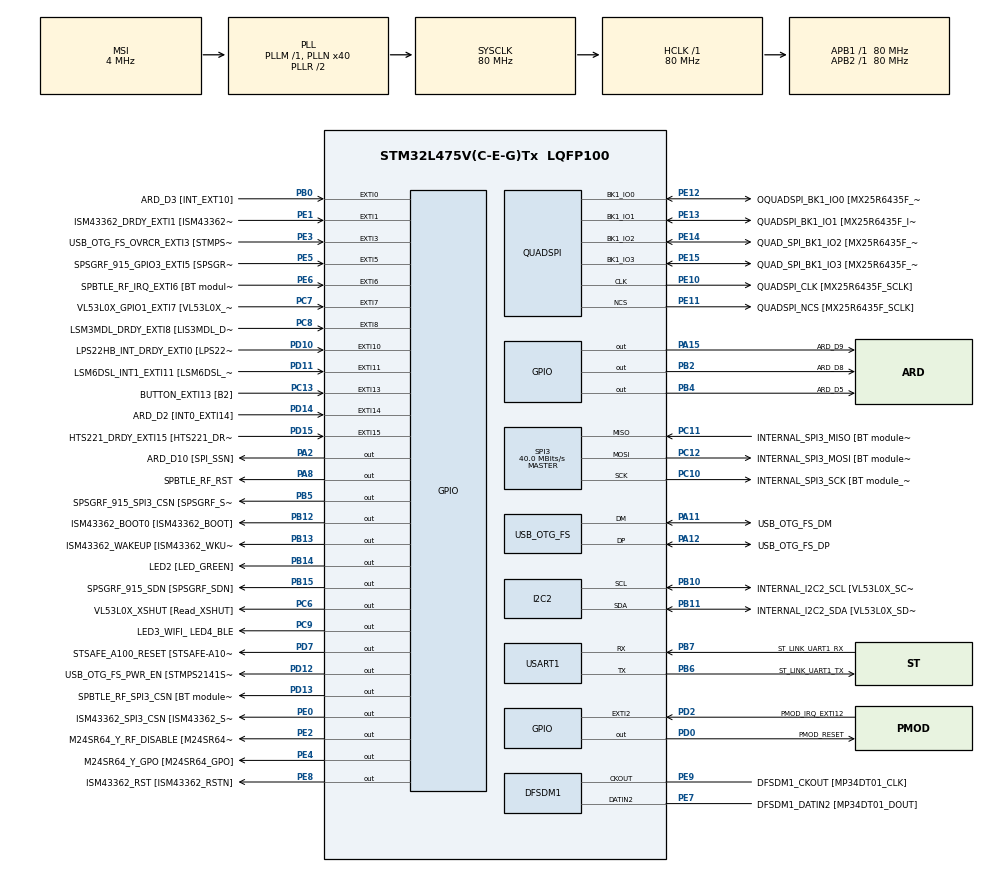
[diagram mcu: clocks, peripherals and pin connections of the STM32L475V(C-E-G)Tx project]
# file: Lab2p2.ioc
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Mcu.Family=STM32L4
Mcu.Name=STM32L475V(C-E-G)Tx
Mcu.Package=LQFP100
NVIC.EXTI15_10_IRQn=true\:0\:0\:false\:false\:true\:true\:true\:true
NVIC.EXTI9_5_IRQn=true\:0\:0\:false\:false\:true\:true\:true\:true
NVIC.PriorityGroup=NVIC_PRIORITYGROUP_4
NVIC.USART1_IRQn=true\:0\:0\:false\:false\:true\:true\:true\:true
PA0.GPIO_Label=ARD_D1 [UART4_TX]
PA0.Signal=UART4_TX
PA1.GPIO_Label=ARD_D0 [UART4_RX]
PA1.Signal=UART4_RX
PA10.GPIO_Label=USB_OTG_FS_ID
PA10.Signal=USB_OTG_FS_ID
PA11.GPIO_Label=USB_OTG_FS_DM
PA11.Mode=Device_Only
PA11.Signal=USB_OTG_FS_DM
PA12.GPIO_Label=USB_OTG_FS_DP
PA12.Mode=Device_Only
PA12.Signal=USB_OTG_FS_DP
PA13\ (JTMS-SWDIO).GPIO_Label=SYS_JTMS_SWDIO
PA13\ (JTMS-SWDIO).Mode=Serial_Wire
PA13\ (JTMS-SWDIO).Signal=SYS_JTMS-SWDIO
PA14\ (JTCK-SWCLK).GPIO_Label=SYS_JTCK_SWCLK
PA14\ (JTCK-SWCLK).Mode=Serial_Wire
PA14\ (JTCK-SWCLK).Signal=SYS_JTCK-SWCLK
PA15\ (JTDI).GPIO_Label=ARD_D9
PA15\ (JTDI).Signal=GPIO_Output
PA2.GPIO_Label=ARD_D10 [SPI_SSN]
PA2.Signal=GPIO_Output
PA3.GPIO_Label=ARD_D4
PA3.Signal=S_TIM2_CH4
PA4.GPIO_Label=ARD_D7
PA4.Signal=ADCx_IN9
PA5.GPIO_Label=ARD_D13 [SPI1_SCK]
PA5.Signal=SPI1_SCK
PA6.GPIO_Label=ARD_D12 [SPI1_MISO]
PA6.Signal=SPI1_MISO
PA7.GPIO_Label=ARD_D11 [SPI1_MOSI]
PA7.Signal=SPI1_MOSI
PA8.GPIO_Label=SPBTLE_RF_RST
PA8.Signal=GPIO_Output
PA9.GPIO_Label=USB_OTG_FS_VBUS [STMPS2141STR_OUT]
PA9.Signal=USB_OTG_FS_VBUS
PB0.GPIO_Label=ARD_D3 [INT_EXT10]
PB0.Signal=GPXTI0
PB1.GPIO_Label=ARD_D6 [ADC1_IN6]
PB1.Signal=ADCx_IN16
PB10.GPIO_Label=INTERNAL_I2C2_SCL [VL53L0X_SCL]
PB10.GPIO_Pu=GPIO_PULLUP
PB10.Mode=I2C
PB10.Signal=I2C2_SCL
PB11.GPIO_Label=INTERNAL_I2C2_SDA [VL53L0X_SDA]
PB11.GPIO_Pu=GPIO_PULLUP
PB11.Mode=I2C
PB11.Signal=I2C2_SDA
PB12.GPIO_Label=ISM43362_BOOT0 [ISM43362_BOOT]
PB12.Signal=GPIO_Output
PB13.GPIO_Label=ISM43362_WAKEUP [ISM43362_WKUP]
PB13.Signal=GPIO_Output
PB14.GPIO_Label=LED2 [LED_GREEN]
PB14.Signal=GPIO_Output
PB15.GPIO_Label=SPSGRF_915_SDN [SPSGRF_SDN]
PB15.Signal=GPIO_Output
PB2.GPIO_Label=ARD_D8
PB2.Signal=GPIO_Output
PB3\ (JTDO-TRACESWO).GPIO_Label=SYS_JTD0_SWO
PB3\ (JTDO-TRACESWO).Signal=SYS_JTDO-SWO
PB4\ (NJTRST).GPIO_Label=ARD_D5
PB4\ (NJTRST).Signal=GPIO_Output
PB5.GPIO_Label=SPSGRF_915_SPI3_CSN [SPSGRF_SPI_CS]
PB5.PinState=GPIO_PIN_SET
PB5.Signal=GPIO_Output
PB6.GPIO_Label=ST_LINK_UART1_TX
PB6.Mode=Asynchronous
PB6.Signal=USART1_TX
PB7.GPIO_Label=ST_LINK_UART1_RX
PB7.Mode=Asynchronous
PB7.Signal=USART1_RX
PB8.GPIO_Label=ARD_D15 [I2C1_SCL]
PB8.Signal=I2C1_SCL
PB9.GPIO_Label=ARD_D14 [I2C1_SDA]
PB9.Signal=I2C1_SDA
PC0.GPIO_Label=ARD_A5 [ADC]
PC0.Signal=ADCx_IN1
PC1.GPIO_Label=ARD_A4 [ADC]
PC1.Signal=ADCx_IN2
PC10.GPIO_Label=INTERNAL_SPI3_SCK [BT module_SPI_SCLK] [ISM43362_SCK]
PC10.Mode=Full_Duplex_Master
PC10.Signal=SPI3_SCK
PC11.GPIO_Label=INTERNAL_SPI3_MISO [BT module_SPI_MISO] [ISM43362_MISO]
PC11.Mode=Full_Duplex_Master
PC11.Signal=SPI3_MISO
PC12.GPIO_Label=INTERNAL_SPI3_MOSI [BT module_SPI_MOSI] [ISM43362_MOSI]
PC12.Mode=Full_Duplex_Master
PC12.Signal=SPI3_MOSI
PC13.GPIO_Label=BUTTON_EXTI13 [B2]
PC13.GPIO_ModeDefaultEXTI=GPIO_MODE_IT_FALLING
PC13.Signal=GPXTI13
PC14-OSC32_IN\ (PC14).Mode=LSE-External-Oscillator
PC14-OSC32_IN\ (PC14).Signal=RCC_OSC32_IN
PC15-OSC32_OUT\ (PC15).Mode=LSE-External-Oscillator
PC15-OSC32_OUT\ (PC15).Signal=RCC_OSC32_OUT
PC2.GPIO_Label=ARD_A3 [ADC]
PC2.Signal=ADCx_IN3
PC3.GPIO_Label=ARD_A2 [ADC]
PC3.Signal=ADCx_IN4
PC4.GPIO_Label=ARD_A1 [ADC]
PC4.Signal=ADCx_IN13
PC5.GPIO_Label=ARD_A0 [ADC]
PC5.Signal=ADCx_IN14
PC6.GPIO_Label=VL53L0X_XSHUT [Read_XSHUT]
PC6.Signal=GPIO_Output
PC7.GPIO_Label=VL53L0X_GPIO1_EXTI7 [VL53L0X_GPIO1]
PC7.Signal=GPXTI7
PC8.GPIO_Label=LSM3MDL_DRDY_EXTI8 [LIS3MDL_DRDY]
PC8.Signal=GPXTI8
PC9.GPIO_Label=LED3_WIFI_ LED4_BLE
PC9.Signal=GPIO_Output
PD0.GPIO_Label=PMOD_RESET
PD0.Signal=GPIO_Output
PD1.GPIO_Label=PMOD_SPI2_SCK
PD1.Signal=SPI2_SCK
PD10.GPIO_Label=LPS22HB_INT_DRDY_EXTI0 [LPS22HB_INT_DRDY] 
PD10.Signal=GPXTI10
PD11.GPIO_Label=LSM6DSL_INT1_EXTI11 [LSM6DSL_INT1]
PD11.Signal=GPXTI11
PD12.GPIO_Label=USB_OTG_FS_PWR_EN [STMPS2141STR_EN]
PD12.Signal=GPIO_Output
PD13.GPIO_Label=SPBTLE_RF_SPI3_CSN [BT module_SPI_CS]
PD13.PinState=GPIO_PIN_SET
PD13.Signal=GPIO_Output
PD14.GPIO_Label=ARD_D2 [INT0_EXTI14]
PD14.Signal=GPXTI14
PD15.GPIO_Label=HTS221_DRDY_EXTI15 [HTS221_DRDY]
PD15.Signal=GPXTI15
PD2.GPIO_Label=PMOD_IRQ_EXTI12
PD2.Signal=GPXTI2
PD3.GPIO_Label=PMOD_UART2_CTS
PD3.Signal=USART2_CTS
PD4.GPIO_Label=PMOD_UART2_RTS
PD4.Signal=USART2_RTS
PD5.GPIO_Label=PMOD_UART2_TX
PD5.Signal=USART2_TX
PD6.GPIO_Label=PMOD_UART2_RX
PD6.Signal=USART2_RX
PD7.GPIO_Label=STSAFE_A100_RESET [STSAFE-A100_RESET]
PD7.Signal=GPIO_Output
PD8.GPIO_Label=INTERNAL_UART3_TX [ISM43362_RX]
PD8.Signal=USART3_TX
PD9.GPIO_Label=INTERNAL_UART3_RX [ISM43362_TX]
PD9.Signal=USART3_RX
PE0.GPIO_Label=ISM43362_SPI3_CSN [ISM43362_SSN]
PE0.PinState=GPIO_PIN_SET
PE0.Signal=GPIO_Output
PE1.GPIO_Label=ISM43362_DRDY_EXTI1 [ISM43362_DATARDY]
PE1.Signal=GPXTI1
PE10.GPIO_Label=QUADSPI_CLK [MX25R6435F_SCLK]
PE10.Mode=Single Bank
PE10.Signal=QUADSPI_CLK
PE11.GPIO_Label=QUADSPI_NCS [MX25R6435F_SCLK]
PE11.Mode=Single Bank
PE11.Signal=QUADSPI_NCS
PE12.GPIO_Label=OQUADSPI_BK1_IO0 [MX25R6435F_IO0]
PE12.Mode=Single Bank
PE12.Signal=QUADSPI_BK1_IO0
PE13.GPIO_Label=QUADSPI_BK1_IO1 [MX25R6435F_IO1]
PE13.Mode=Single Bank
PE13.Signal=QUADSPI_BK1_IO1
PE14.GPIO_Label=QUAD_SPI_BK1_IO2 [MX25R6435F_IO2]
PE14.Mode=Single Bank
PE14.Signal=QUADSPI_BK1_IO2
PE15.GPIO_Label=QUAD_SPI_BK1_IO3 [MX25R6435F_IO3]
PE15.Mode=Single Bank
PE15.Signal=QUADSPI_BK1_IO3
PE2.GPIO_Label=M24SR64_Y_RF_DISABLE [M24SR64_RFDIS]
PE2.Signal=GPIO_Output
PE3.GPIO_Label=USB_OTG_FS_OVRCR_EXTI3 [STMPS2141STR_FAULT]
PE3.Signal=GPXTI3
PE4.GPIO_Label=M24SR64_Y_GPO [M24SR64_GPO]
PE4.Signal=GPIO_Output
PE5.GPIO_Label=SPSGRF_915_GPIO3_EXTI5 [SPSGRF_GPIO_3]
PE5.Signal=GPXTI5
PE6.GPIO_Label=SPBTLE_RF_IRQ_EXTI6 [BT module_SPI_IRQ]
PE6.Signal=GPXTI6
PE7.GPIO_Label=DFSDM1_DATIN2 [MP34DT01_DOUT]
PE7.Signal=S_DATAIN2DFSDM1
PE8.GPIO_Label=ISM43362_RST [ISM43362_RSTN]
PE8.Signal=GPIO_Output
PE9.GPIO_Label=DFSDM1_CKOUT [MP34DT01_CLK]
PE9.Signal=S_CKOUTDFSDM1
ProjectManager.HeapSize=0x200
ProjectManager.StackSize=0x400
ProjectManager.TargetToolchain=STM32CubeIDE
QUADSPI.ClockPrescaler=2
QUADSPI.FifoThreshold=4
QUADSPI.FlashSize=23
QUADSPI.SampleShifting=QSPI_SAMPLE_SHIFTING_HALFCYCLE
RCC.ADCFreq_Value=48000000
RCC.AHBFreq_Value=80000000
RCC.APB1Freq_Value=80000000
RCC.APB1TimFreq_Value=80000000
RCC.APB2Freq_Value=80000000
RCC.APB2TimFreq_Value=80000000
RCC.CortexFreq_Value=80000000
RCC.HCLKFreq_Value=80000000
RCC.HSE_VALUE=8000000
RCC.HSI_VALUE=16000000
RCC.MSI_VALUE=4000000
RCC.PLLN=40
RCC.PLLSAI1N=24
RCC.SYSCLKFreq_VALUE=80000000
RCC.SYSCLKSource=RCC_SYSCLKSOURCE_PLLCLK
RCC.USBFreq_Value=48000000
RCC.VCOOutputFreq_Value=160000000
SH.ADCx_IN1.0=ADC1_IN1
SH.ADCx_IN13.0=ADC1_IN13
SH.ADCx_IN14.0=ADC1_IN14
SH.ADCx_IN16.0=ADC1_IN16
SH.ADCx_IN2.0=ADC1_IN2
SH.ADCx_IN3.0=ADC1_IN3
SH.ADCx_IN4.0=ADC1_IN4
SH.ADCx_IN9.0=ADC1_IN9
SH.S_CKOUTDFSDM1.0=DFSDM1_CKOUT,CKOUT
SH.S_CKOUTDFSDM1.1=DFSDM1_CKOUT,PDM_SPI_Input_from_ch12_and_Internal_Clock
SH.S_DATAIN2DFSDM1.0=DFSDM1_DATIN2,PDM_SPI_Input_from_ch12_and_Internal_Clock
SH.S_TIM2_CH4.0=TIM2_CH4
SPI3.CalculateBaudRate=40.0 MBits/s
SPI3.Direction=SPI_DIRECTION_2LINES
SPI3.Mode=SPI_MODE_MASTER
SPI3.VirtualType=VM_MASTER
USART1.VirtualMode-Asynchronous=VM_ASYNC
USB_OTG_FS.VirtualMode=Device_Only
board=B-L475E-IOT01A1

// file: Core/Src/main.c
/* USER CODE BEGIN Header */
/**
  ******************************************************************************
  * @file           : main.c
  * @brief          : Main program body
  ******************************************************************************
  * @attention
  *
  * Copyright (c) 2024 STMicroelectronics.
  * All rights reserved.
  *
  * This software is licensed under terms that can be found in the LICENSE file
  * in the root directory of this software component.
  * If no LICENSE file comes with this software, it is provided AS-IS.
  *
  ******************************************************************************
  */
/* USER CODE END Header */
#include "main.h"

/* USER CODE BEGIN Includes */
#include <stdio.h>

/* USER CODE END Includes */

DFSDM_Channel_HandleTypeDef hdfsdm1_channel1;

I2C_HandleTypeDef hi2c2;

QSPI_HandleTypeDef hqspi;

SPI_HandleTypeDef hspi3;

UART_HandleTypeDef huart1;

PCD_HandleTypeDef hpcd_USB_OTG_FS;

/* USER CODE BEGIN PV */
//hts221
#if 0
float humidity = 0;
float temp = 0;

float barometer = 0;

int16_t accel[3] = {0};
float gyro[3] = {0};

int16_t magnetometer[3] = {0};
#else
HAL_StatusTypeDef status;
uint8_t data[20000];

#endif
/* USER CODE END PV */

void SystemClock_Config(void);
static void MX_GPIO_Init(void);
static void MX_DFSDM1_Init(void);
static void MX_I2C2_Init(void);
static void MX_QUADSPI_Init(void);
static void MX_SPI3_Init(void);
static void MX_USART1_UART_Init(void);
static void MX_USB_OTG_FS_PCD_Init(void);

int main(void)
{

  /* MCU Configuration--------------------------------------------------------*/

  /* Reset of all peripherals, Initializes the Flash interface and the Systick. */
  HAL_Init();

  /* Configure the system clock */
  SystemClock_Config();

  /* Initialize all configured peripherals */
  MX_GPIO_Init();
  MX_DFSDM1_Init();
  MX_I2C2_Init();
  MX_QUADSPI_Init();
  MX_SPI3_Init();
  MX_USART1_UART_Init();
  MX_USB_OTG_FS_PCD_Init();
  /* USER CODE BEGIN 2 */
#if 0
  BSP_HSENSOR_Init();
  BSP_TSENSOR_Init();
  BSP_PSENSOR_Init();
  BSP_ACCELERO_Init();
  BSP_GYRO_Init();
  BSP_MAGNETO_Init();
#else
  for(int count = 0, letter = 33; count < sizeof(data); count++, letter++) {
	  if (letter > 125) {
		  letter = 33;
	  }
	  data[count] = letter;
  }

  status = HAL_UART_Transmit_IT(&huart1, data, sizeof(data));
  if (status != HAL_OK) {
	  Error_Handler();
  }
#endif

  /* USER CODE END 2 */

  /* Infinite loop */
  while (1)
  {

    /* USER CODE BEGIN 3 */
#if 0
	  humidity = BSP_HSENSOR_ReadHumidity();
	  temp = BSP_TSENSOR_ReadTemp();

	  barometer = BSP_PSENSOR_ReadPressure();

	  LSM6DSL_AccReadXYZ(accel);
	  LSM6DSL_GyroReadXYZAngRate(gyro);

	  BSP_MAGNETO_GetXYZ(magnetometer);

	  char message[200];

	  sprintf(message, "Humidity: %.2f | Temp: %.2f\r\nPressure: %.2f\r\nMagnet: %d %d %d\r\nAccel: %d %d %d\r\nGyro: %.2f %.2f %.2f\r\n\n\0", humidity, temp, barometer, magnetometer[0], magnetometer[1], magnetometer[2], accel[0], accel[1], accel[2], gyro[0], gyro[1], gyro[2]);

	  HAL_UART_Transmit(&huart1, (uint8_t*)message, strlen(message), HAL_MAX_DELAY);
	  HAL_Delay(1000);
#else
	  HAL_GPIO_TogglePin(GPIOB, GPIO_PIN_14);
	  HAL_Delay(250);
#endif

  }
  /* USER CODE END 3 */
}

void SystemClock_Config(void)
{
  RCC_OscInitTypeDef RCC_OscInitStruct = {0};
  RCC_ClkInitTypeDef RCC_ClkInitStruct = {0};

  /** Configure the main internal regulator output voltage
  */
  if (HAL_PWREx_ControlVoltageScaling(PWR_REGULATOR_VOLTAGE_SCALE1) != HAL_OK)
  {
    Error_Handler();
  }

  /** Configure LSE Drive Capability
  */
  HAL_PWR_EnableBkUpAccess();
  __HAL_RCC_LSEDRIVE_CONFIG(RCC_LSEDRIVE_LOW);

  /** Initializes the RCC Oscillators according to the specified parameters
  * in the RCC_OscInitTypeDef structure.
  */
  RCC_OscInitStruct.OscillatorType = RCC_OSCILLATORTYPE_LSE|RCC_OSCILLATORTYPE_MSI;
  RCC_OscInitStruct.LSEState = RCC_LSE_ON;
  RCC_OscInitStruct.MSIState = RCC_MSI_ON;
  RCC_OscInitStruct.MSICalibrationValue = 0;
  RCC_OscInitStruct.MSIClockRange = RCC_MSIRANGE_6;
  RCC_OscInitStruct.PLL.PLLState = RCC_PLL_ON;
  RCC_OscInitStruct.PLL.PLLSource = RCC_PLLSOURCE_MSI;
  RCC_OscInitStruct.PLL.PLLM = 1;
  RCC_OscInitStruct.PLL.PLLN = 40;
  RCC_OscInitStruct.PLL.PLLP = RCC_PLLP_DIV7;
  RCC_OscInitStruct.PLL.PLLQ = RCC_PLLQ_DIV2;
  RCC_OscInitStruct.PLL.PLLR = RCC_PLLR_DIV2;
  if (HAL_RCC_OscConfig(&RCC_OscInitStruct) != HAL_OK)
  {
    Error_Handler();
  }

  /** Initializes the CPU, AHB and APB buses clocks
  */
  RCC_ClkInitStruct.ClockType = RCC_CLOCKTYPE_HCLK|RCC_CLOCKTYPE_SYSCLK
                              |RCC_CLOCKTYPE_PCLK1|RCC_CLOCKTYPE_PCLK2;
  RCC_ClkInitStruct.SYSCLKSource = RCC_SYSCLKSOURCE_PLLCLK;
  RCC_ClkInitStruct.AHBCLKDivider = RCC_SYSCLK_DIV1;
  RCC_ClkInitStruct.APB1CLKDivider = RCC_HCLK_DIV1;
  RCC_ClkInitStruct.APB2CLKDivider = RCC_HCLK_DIV1;

  if (HAL_RCC_ClockConfig(&RCC_ClkInitStruct, FLASH_LATENCY_4) != HAL_OK)
  {
    Error_Handler();
  }

  /** Enable MSI Auto calibration
  */
  HAL_RCCEx_EnableMSIPLLMode();
}

static void MX_DFSDM1_Init(void)
{

  hdfsdm1_channel1.Instance = DFSDM1_Channel1;
  hdfsdm1_channel1.Init.OutputClock.Activation = ENABLE;
  hdfsdm1_channel1.Init.OutputClock.Selection = DFSDM_CHANNEL_OUTPUT_CLOCK_SYSTEM;
  hdfsdm1_channel1.Init.OutputClock.Divider = 2;
  hdfsdm1_channel1.Init.Input.Multiplexer = DFSDM_CHANNEL_EXTERNAL_INPUTS;
  hdfsdm1_channel1.Init.Input.DataPacking = DFSDM_CHANNEL_STANDARD_MODE;
  hdfsdm1_channel1.Init.Input.Pins = DFSDM_CHANNEL_FOLLOWING_CHANNEL_PINS;
  hdfsdm1_channel1.Init.SerialInterface.Type = DFSDM_CHANNEL_SPI_RISING;
  hdfsdm1_channel1.Init.SerialInterface.SpiClock = DFSDM_CHANNEL_SPI_CLOCK_INTERNAL;
  hdfsdm1_channel1.Init.Awd.FilterOrder = DFSDM_CHANNEL_FASTSINC_ORDER;
  hdfsdm1_channel1.Init.Awd.Oversampling = 1;
  hdfsdm1_channel1.Init.Offset = 0;
  hdfsdm1_channel1.Init.RightBitShift = 0x00;
  if (HAL_DFSDM_ChannelInit(&hdfsdm1_channel1) != HAL_OK)
  {
    Error_Handler();
  }

}

static void MX_I2C2_Init(void)
{

  hi2c2.Instance = I2C2;
  hi2c2.Init.Timing = 0x10909CEC;
  hi2c2.Init.OwnAddress1 = 0;
  hi2c2.Init.AddressingMode = I2C_ADDRESSINGMODE_7BIT;
  hi2c2.Init.DualAddressMode = I2C_DUALADDRESS_DISABLE;
  hi2c2.Init.OwnAddress2 = 0;
  hi2c2.Init.OwnAddress2Masks = I2C_OA2_NOMASK;
  hi2c2.Init.GeneralCallMode = I2C_GENERALCALL_DISABLE;
  hi2c2.Init.NoStretchMode = I2C_NOSTRETCH_DISABLE;
  if (HAL_I2C_Init(&hi2c2) != HAL_OK)
  {
    Error_Handler();
  }

  /** Configure Analogue filter
  */
  if (HAL_I2CEx_ConfigAnalogFilter(&hi2c2, I2C_ANALOGFILTER_ENABLE) != HAL_OK)
  {
    Error_Handler();
  }

  /** Configure Digital filter
  */
  if (HAL_I2CEx_ConfigDigitalFilter(&hi2c2, 0) != HAL_OK)
  {
    Error_Handler();
  }

}

static void MX_QUADSPI_Init(void)
{

  /* QUADSPI parameter configuration*/
  hqspi.Instance = QUADSPI;
  hqspi.Init.ClockPrescaler = 2;
  hqspi.Init.FifoThreshold = 4;
  hqspi.Init.SampleShifting = QSPI_SAMPLE_SHIFTING_HALFCYCLE;
  hqspi.Init.FlashSize = 23;
  hqspi.Init.ChipSelectHighTime = QSPI_CS_HIGH_TIME_1_CYCLE;
  hqspi.Init.ClockMode = QSPI_CLOCK_MODE_0;
  if (HAL_QSPI_Init(&hqspi) != HAL_OK)
  {
    Error_Handler();
  }

}

static void MX_SPI3_Init(void)
{

  /* SPI3 parameter configuration*/
  hspi3.Instance = SPI3;
  hspi3.Init.Mode = SPI_MODE_MASTER;
  hspi3.Init.Direction = SPI_DIRECTION_2LINES;
  hspi3.Init.DataSize = SPI_DATASIZE_4BIT;
  hspi3.Init.CLKPolarity = SPI_POLARITY_LOW;
  hspi3.Init.CLKPhase = SPI_PHASE_1EDGE;
  hspi3.Init.NSS = SPI_NSS_SOFT;
  hspi3.Init.BaudRatePrescaler = SPI_BAUDRATEPRESCALER_2;
  hspi3.Init.FirstBit = SPI_FIRSTBIT_MSB;
  hspi3.Init.TIMode = SPI_TIMODE_DISABLE;
  hspi3.Init.CRCCalculation = SPI_CRCCALCULATION_DISABLE;
  hspi3.Init.CRCPolynomial = 7;
  hspi3.Init.CRCLength = SPI_CRC_LENGTH_DATASIZE;
  hspi3.Init.NSSPMode = SPI_NSS_PULSE_ENABLE;
  if (HAL_SPI_Init(&hspi3) != HAL_OK)
  {
    Error_Handler();
  }

}

static void MX_USART1_UART_Init(void)
{

  huart1.Instance = USART1;
  huart1.Init.BaudRate = 115200;
  huart1.Init.WordLength = UART_WORDLENGTH_8B;
  huart1.Init.StopBits = UART_STOPBITS_1;
  huart1.Init.Parity = UART_PARITY_NONE;
  huart1.Init.Mode = UART_MODE_TX_RX;
  huart1.Init.HwFlowCtl = UART_HWCONTROL_NONE;
  huart1.Init.OverSampling = UART_OVERSAMPLING_16;
  huart1.Init.OneBitSampling = UART_ONE_BIT_SAMPLE_DISABLE;
  huart1.AdvancedInit.AdvFeatureInit = UART_ADVFEATURE_NO_INIT;
  if (HAL_UART_Init(&huart1) != HAL_OK)
  {
    Error_Handler();
  }

}

static void MX_USB_OTG_FS_PCD_Init(void)
{

  hpcd_USB_OTG_FS.Instance = USB_OTG_FS;
  hpcd_USB_OTG_FS.Init.dev_endpoints = 6;
  hpcd_USB_OTG_FS.Init.speed = PCD_SPEED_FULL;
  hpcd_USB_OTG_FS.Init.phy_itface = PCD_PHY_EMBEDDED;
  hpcd_USB_OTG_FS.Init.Sof_enable = DISABLE;
  hpcd_USB_OTG_FS.Init.low_power_enable = DISABLE;
  hpcd_USB_OTG_FS.Init.lpm_enable = DISABLE;
  hpcd_USB_OTG_FS.Init.battery_charging_enable = DISABLE;
  hpcd_USB_OTG_FS.Init.use_dedicated_ep1 = DISABLE;
  hpcd_USB_OTG_FS.Init.vbus_sensing_enable = DISABLE;
  if (HAL_PCD_Init(&hpcd_USB_OTG_FS) != HAL_OK)
  {
    Error_Handler();
  }

}

static void MX_GPIO_Init(void)
{
  GPIO_InitTypeDef GPIO_InitStruct = {0};

  /* GPIO Ports Clock Enable */
  __HAL_RCC_GPIOE_CLK_ENABLE();
  __HAL_RCC_GPIOC_CLK_ENABLE();
  __HAL_RCC_GPIOA_CLK_ENABLE();
  __HAL_RCC_GPIOB_CLK_ENABLE();
  __HAL_RCC_GPIOD_CLK_ENABLE();

  /*Configure GPIO pin Output Level */
  HAL_GPIO_WritePin(GPIOE, M24SR64_Y_RF_DISABLE_Pin|M24SR64_Y_GPO_Pin|ISM43362_RST_Pin, GPIO_PIN_RESET);

  /*Configure GPIO pin Output Level */
  HAL_GPIO_WritePin(GPIOA, ARD_D10_Pin|SPBTLE_RF_RST_Pin|ARD_D9_Pin, GPIO_PIN_RESET);

  /*Configure GPIO pin Output Level */
  HAL_GPIO_WritePin(GPIOB, ARD_D8_Pin|ISM43362_BOOT0_Pin|ISM43362_WAKEUP_Pin|LED2_Pin
                          |SPSGRF_915_SDN_Pin|ARD_D5_Pin, GPIO_PIN_RESET);

  /*Configure GPIO pin Output Level */
  HAL_GPIO_WritePin(GPIOD, USB_OTG_FS_PWR_EN_Pin|PMOD_RESET_Pin|STSAFE_A100_RESET_Pin, GPIO_PIN_RESET);

  /*Configure GPIO pin Output Level */
  HAL_GPIO_WritePin(SPBTLE_RF_SPI3_CSN_GPIO_Port, SPBTLE_RF_SPI3_CSN_Pin, GPIO_PIN_SET);

  /*Configure GPIO pin Output Level */
  HAL_GPIO_WritePin(GPIOC, VL53L0X_XSHUT_Pin|LED3_WIFI__LED4_BLE_Pin, GPIO_PIN_RESET);

  /*Configure GPIO pin Output Level */
  HAL_GPIO_WritePin(SPSGRF_915_SPI3_CSN_GPIO_Port, SPSGRF_915_SPI3_CSN_Pin, GPIO_PIN_SET);

  /*Configure GPIO pin Output Level */
  HAL_GPIO_WritePin(ISM43362_SPI3_CSN_GPIO_Port, ISM43362_SPI3_CSN_Pin, GPIO_PIN_SET);

  /*Configure GPIO pins : M24SR64_Y_RF_DISABLE_Pin M24SR64_Y_GPO_Pin ISM43362_RST_Pin ISM43362_SPI3_CSN_Pin */
  GPIO_InitStruct.Pin = M24SR64_Y_RF_DISABLE_Pin|M24SR64_Y_GPO_Pin|ISM43362_RST_Pin|ISM43362_SPI3_CSN_Pin;
  GPIO_InitStruct.Mode = GPIO_MODE_OUTPUT_PP;
  GPIO_InitStruct.Pull = GPIO_NOPULL;
  GPIO_InitStruct.Speed = GPIO_SPEED_FREQ_LOW;
  HAL_GPIO_Init(GPIOE, &GPIO_InitStruct);

  /*Configure GPIO pins : USB_OTG_FS_OVRCR_EXTI3_Pin SPSGRF_915_GPIO3_EXTI5_Pin SPBTLE_RF_IRQ_EXTI6_Pin ISM43362_DRDY_EXTI1_Pin */
  GPIO_InitStruct.Pin = USB_OTG_FS_OVRCR_EXTI3_Pin|SPSGRF_915_GPIO3_EXTI5_Pin|SPBTLE_RF_IRQ_EXTI6_Pin|ISM43362_DRDY_EXTI1_Pin;
  GPIO_InitStruct.Mode = GPIO_MODE_IT_RISING;
  GPIO_InitStruct.Pull = GPIO_NOPULL;
  HAL_GPIO_Init(GPIOE, &GPIO_InitStruct);

  /*Configure GPIO pin : BUTTON_EXTI13_Pin */
  GPIO_InitStruct.Pin = BUTTON_EXTI13_Pin;
  GPIO_InitStruct.Mode = GPIO_MODE_IT_FALLING;
  GPIO_InitStruct.Pull = GPIO_NOPULL;
  HAL_GPIO_Init(BUTTON_EXTI13_GPIO_Port, &GPIO_InitStruct);

  /*Configure GPIO pins : ARD_A5_Pin ARD_A4_Pin ARD_A3_Pin ARD_A2_Pin
                           ARD_A1_Pin ARD_A0_Pin */
  GPIO_InitStruct.Pin = ARD_A5_Pin|ARD_A4_Pin|ARD_A3_Pin|ARD_A2_Pin
                          |ARD_A1_Pin|ARD_A0_Pin;
  GPIO_InitStruct.Mode = GPIO_MODE_ANALOG_ADC_CONTROL;
  GPIO_InitStruct.Pull = GPIO_NOPULL;
  HAL_GPIO_Init(GPIOC, &GPIO_InitStruct);

  /*Configure GPIO pins : ARD_D1_Pin ARD_D0_Pin */
  GPIO_InitStruct.Pin = ARD_D1_Pin|ARD_D0_Pin;
  GPIO_InitStruct.Mode = GPIO_MODE_AF_PP;
  GPIO_InitStruct.Pull = GPIO_NOPULL;
  GPIO_InitStruct.Speed = GPIO_SPEED_FREQ_VERY_HIGH;
  GPIO_InitStruct.Alternate = GPIO_AF8_UART4;
  HAL_GPIO_Init(GPIOA, &GPIO_InitStruct);

  /*Configure GPIO pins : ARD_D10_Pin SPBTLE_RF_RST_Pin ARD_D9_Pin */
  GPIO_InitStruct.Pin = ARD_D10_Pin|SPBTLE_RF_RST_Pin|ARD_D9_Pin;
  GPIO_InitStruct.Mode = GPIO_MODE_OUTPUT_PP;
  GPIO_InitStruct.Pull = GPIO_NOPULL;
  GPIO_InitStruct.Speed = GPIO_SPEED_FREQ_LOW;
  HAL_GPIO_Init(GPIOA, &GPIO_InitStruct);

  /*Configure GPIO pin : ARD_D4_Pin */
  GPIO_InitStruct.Pin = ARD_D4_Pin;
  GPIO_InitStruct.Mode = GPIO_MODE_AF_PP;
  GPIO_InitStruct.Pull = GPIO_NOPULL;
  GPIO_InitStruct.Speed = GPIO_SPEED_FREQ_LOW;
  GPIO_InitStruct.Alternate = GPIO_AF1_TIM2;
  HAL_GPIO_Init(ARD_D4_GPIO_Port, &GPIO_InitStruct);

  /*Configure GPIO pin : ARD_D7_Pin */
  GPIO_InitStruct.Pin = ARD_D7_Pin;
  GPIO_InitStruct.Mode = GPIO_MODE_ANALOG_ADC_CONTROL;
  GPIO_InitStruct.Pull = GPIO_NOPULL;
  HAL_GPIO_Init(ARD_D7_GPIO_Port, &GPIO_InitStruct);

  /*Configure GPIO pins : ARD_D13_Pin ARD_D12_Pin ARD_D11_Pin */
  GPIO_InitStruct.Pin = ARD_D13_Pin|ARD_D12_Pin|ARD_D11_Pin;
  GPIO_InitStruct.Mode = GPIO_MODE_AF_PP;
  GPIO_InitStruct.Pull = GPIO_NOPULL;
  GPIO_InitStruct.Speed = GPIO_SPEED_FREQ_VERY_HIGH;
  GPIO_InitStruct.Alternate = GPIO_AF5_SPI1;
  HAL_GPIO_Init(GPIOA, &GPIO_InitStruct);

  /*Configure GPIO pin : ARD_D3_Pin */
  GPIO_InitStruct.Pin = ARD_D3_Pin;
  GPIO_InitStruct.Mode = GPIO_MODE_IT_RISING;
  GPIO_InitStruct.Pull = GPIO_NOPULL;
  HAL_GPIO_Init(ARD_D3_GPIO_Port, &GPIO_InitStruct);

  /*Configure GPIO pin : ARD_D6_Pin */
  GPIO_InitStruct.Pin = ARD_D6_Pin;
  GPIO_InitStruct.Mode = GPIO_MODE_ANALOG_ADC_CONTROL;
  GPIO_InitStruct.Pull = GPIO_NOPULL;
  HAL_GPIO_Init(ARD_D6_GPIO_Port, &GPIO_InitStruct);

  /*Configure GPIO pins : ARD_D8_Pin ISM43362_BOOT0_Pin ISM43362_WAKEUP_Pin LED2_Pin
                           SPSGRF_915_SDN_Pin ARD_D5_Pin SPSGRF_915_SPI3_CSN_Pin */
  GPIO_InitStruct.Pin = ARD_D8_Pin|ISM43362_BOOT0_Pin|ISM43362_WAKEUP_Pin|LED2_Pin
                          |SPSGRF_915_SDN_Pin|ARD_D5_Pin|SPSGRF_915_SPI3_CSN_Pin;
  GPIO_InitStruct.Mode = GPIO_MODE_OUTPUT_PP;
  GPIO_InitStruct.Pull = GPIO_NOPULL;
  GPIO_InitStruct.Speed = GPIO_SPEED_FREQ_LOW;
  HAL_GPIO_Init(GPIOB, &GPIO_InitStruct);

  /*Configure GPIO pins : INTERNAL_UART3_TX_Pin INTERNAL_UART3_RX_Pin */
  GPIO_InitStruct.Pin = INTERNAL_UART3_TX_Pin|INTERNAL_UART3_RX_Pin;
  GPIO_InitStruct.Mode = GPIO_MODE_AF_PP;
  GPIO_InitStruct.Pull = GPIO_NOPULL;
  GPIO_InitStruct.Speed = GPIO_SPEED_FREQ_VERY_HIGH;
  GPIO_InitStruct.Alternate = GPIO_AF7_USART3;
  HAL_GPIO_Init(GPIOD, &GPIO_InitStruct);

  /*Configure GPIO pins : LPS22HB_INT_DRDY_EXTI0_Pin LSM6DSL_INT1_EXTI11_Pin ARD_D2_Pin HTS221_DRDY_EXTI15_Pin
                           PMOD_IRQ_EXTI12_Pin */
  GPIO_InitStruct.Pin = LPS22HB_INT_DRDY_EXTI0_Pin|LSM6DSL_INT1_EXTI11_Pin|ARD_D2_Pin|HTS221_DRDY_EXTI15_Pin
                          |PMOD_IRQ_EXTI12_Pin;
  GPIO_InitStruct.Mode = GPIO_MODE_IT_RISING;
  GPIO_InitStruct.Pull = GPIO_NOPULL;
  HAL_GPIO_Init(GPIOD, &GPIO_InitStruct);

  /*Configure GPIO pins : USB_OTG_FS_PWR_EN_Pin SPBTLE_RF_SPI3_CSN_Pin PMOD_RESET_Pin STSAFE_A100_RESET_Pin */
  GPIO_InitStruct.Pin = USB_OTG_FS_PWR_EN_Pin|SPBTLE_RF_SPI3_CSN_Pin|PMOD_RESET_Pin|STSAFE_A100_RESET_Pin;
  GPIO_InitStruct.Mode = GPIO_MODE_OUTPUT_PP;
  GPIO_InitStruct.Pull = GPIO_NOPULL;
  GPIO_InitStruct.Speed = GPIO_SPEED_FREQ_LOW;
  HAL_GPIO_Init(GPIOD, &GPIO_InitStruct);

  /*Configure GPIO pins : VL53L0X_XSHUT_Pin LED3_WIFI__LED4_BLE_Pin */
  GPIO_InitStruct.Pin = VL53L0X_XSHUT_Pin|LED3_WIFI__LED4_BLE_Pin;
  GPIO_InitStruct.Mode = GPIO_MODE_OUTPUT_PP;
  GPIO_InitStruct.Pull = GPIO_NOPULL;
  GPIO_InitStruct.Speed = GPIO_SPEED_FREQ_LOW;
  HAL_GPIO_Init(GPIOC, &GPIO_InitStruct);

  /*Configure GPIO pins : VL53L0X_GPIO1_EXTI7_Pin LSM3MDL_DRDY_EXTI8_Pin */
  GPIO_InitStruct.Pin = VL53L0X_GPIO1_EXTI7_Pin|LSM3MDL_DRDY_EXTI8_Pin;
  GPIO_InitStruct.Mode = GPIO_MODE_IT_RISING;
  GPIO_InitStruct.Pull = GPIO_NOPULL;
  HAL_GPIO_Init(GPIOC, &GPIO_InitStruct);

  /*Configure GPIO pin : PMOD_SPI2_SCK_Pin */
  GPIO_InitStruct.Pin = PMOD_SPI2_SCK_Pin;
  GPIO_InitStruct.Mode = GPIO_MODE_AF_PP;
  GPIO_InitStruct.Pull = GPIO_NOPULL;
  GPIO_InitStruct.Speed = GPIO_SPEED_FREQ_VERY_HIGH;
  GPIO_InitStruct.Alternate = GPIO_AF5_SPI2;
  HAL_GPIO_Init(PMOD_SPI2_SCK_GPIO_Port, &GPIO_InitStruct);

  /*Configure GPIO pins : PMOD_UART2_CTS_Pin PMOD_UART2_RTS_Pin PMOD_UART2_TX_Pin PMOD_UART2_RX_Pin */
  GPIO_InitStruct.Pin = PMOD_UART2_CTS_Pin|PMOD_UART2_RTS_Pin|PMOD_UART2_TX_Pin|PMOD_UART2_RX_Pin;
  GPIO_InitStruct.Mode = GPIO_MODE_AF_PP;
  GPIO_InitStruct.Pull = GPIO_NOPULL;
  GPIO_InitStruct.Speed = GPIO_SPEED_FREQ_VERY_HIGH;
  GPIO_InitStruct.Alternate = GPIO_AF7_USART2;
  HAL_GPIO_Init(GPIOD, &GPIO_InitStruct);

  /*Configure GPIO pins : ARD_D15_Pin ARD_D14_Pin */
  GPIO_InitStruct.Pin = ARD_D15_Pin|ARD_D14_Pin;
  GPIO_InitStruct.Mode = GPIO_MODE_AF_OD;
  GPIO_InitStruct.Pull = GPIO_NOPULL;
  GPIO_InitStruct.Speed = GPIO_SPEED_FREQ_VERY_HIGH;
  GPIO_InitStruct.Alternate = GPIO_AF4_I2C1;
  HAL_GPIO_Init(GPIOB, &GPIO_InitStruct);

  /* EXTI interrupt init*/
  HAL_NVIC_SetPriority(EXTI9_5_IRQn, 0, 0);
  HAL_NVIC_EnableIRQ(EXTI9_5_IRQn);

  HAL_NVIC_SetPriority(EXTI15_10_IRQn, 0, 0);
  HAL_NVIC_EnableIRQ(EXTI15_10_IRQn);

}

/* USER CODE BEGIN 4 */
void HAL_UART_TxCpltCallback(UART_HandleTypeDef *huart)
{
	// do something with the data
	HAL_UART_Transmit_IT(&huart1, data, sizeof(data));
}
/* USER CODE END 4 */

void Error_Handler(void)
{
  __disable_irq();
  while (1)
  {
  }
}
